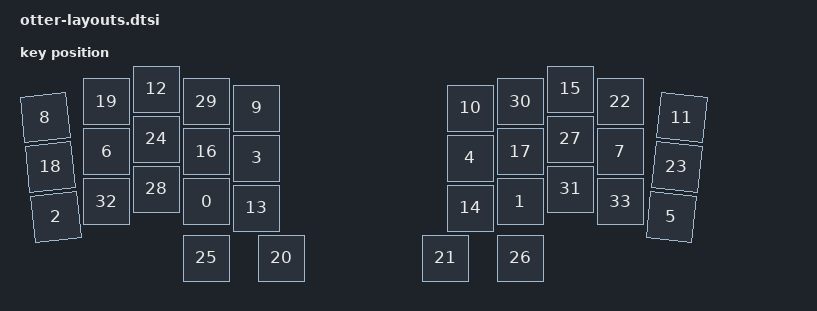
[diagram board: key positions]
#include <physical_layouts.dtsi>

/ {
    physical_layout_otter: physical_layout_otter {
        compatible = "zmk,physical-layout";
        display-name = "otter";
        keys  //                     w   h    x    y     rot    rx    ry
            = <&key_physical_attrs 100 100  328  225       0     0     0>
            , <&key_physical_attrs 100 100  955  225       0     0     0>
            , <&key_physical_attrs 100 100   26  256  (-600)    76   306>
            , <&key_physical_attrs 100 100  428  138       0     0     0>
            , <&key_physical_attrs 100 100  855  138       0     0     0>
            , <&key_physical_attrs 100 100 1257  256     600  1307   306>
            , <&key_physical_attrs 100 100  128  125       0     0     0>
            , <&key_physical_attrs 100 100 1155  125       0     0     0>
            , <&key_physical_attrs 100 100    5   57  (-600)    55   107>
            , <&key_physical_attrs 100 100  428   38       0     0     0>
            , <&key_physical_attrs 100 100  855   38       0     0     0>
            , <&key_physical_attrs 100 100 1278   57     600  1328   107>
            , <&key_physical_attrs 100 100  228    0       0     0     0>
            , <&key_physical_attrs 100 100  428  238       0     0     0>
            , <&key_physical_attrs 100 100  855  238       0     0     0>
            , <&key_physical_attrs 100 100 1055    0       0     0     0>
            , <&key_physical_attrs 100 100  328  125       0     0     0>
            , <&key_physical_attrs 100 100  955  125       0     0     0>
            , <&key_physical_attrs 100 100   15  156  (-600)    65   206>
            , <&key_physical_attrs 100 100  128   25       0     0     0>
            , <&key_physical_attrs 100 100  478  338       0     0     0>
            , <&key_physical_attrs 100 100  805  338       0     0     0>
            , <&key_physical_attrs 100 100 1155   25       0     0     0>
            , <&key_physical_attrs 100 100 1268  156     600  1318   206>
            , <&key_physical_attrs 100 100  228  100       0     0     0>
            , <&key_physical_attrs 100 100  328  338       0     0     0>
            , <&key_physical_attrs 100 100  955  338       0     0     0>
            , <&key_physical_attrs 100 100 1055  100       0     0     0>
            , <&key_physical_attrs 100 100  228  200       0     0     0>
            , <&key_physical_attrs 100 100  328   25       0     0     0>
            , <&key_physical_attrs 100 100  955   25       0     0     0>
            , <&key_physical_attrs 100 100 1055  200       0     0     0>
            , <&key_physical_attrs 100 100  128  225       0     0     0>
            , <&key_physical_attrs 100 100 1155  225       0     0     0>
            ;
    };
};
